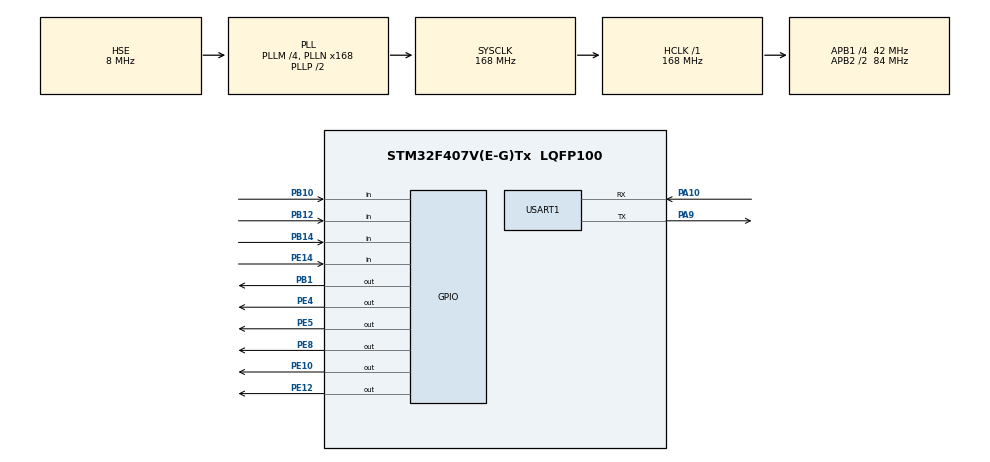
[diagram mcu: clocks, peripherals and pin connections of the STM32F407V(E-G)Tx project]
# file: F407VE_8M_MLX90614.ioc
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Mcu.Family=STM32F4
Mcu.Name=STM32F407V(E-G)Tx
Mcu.Package=LQFP100
NVIC.PriorityGroup=NVIC_PRIORITYGROUP_4
NVIC.USART1_IRQn=true\:0\:0\:false\:false\:true\:true\:true
PA10.Mode=Asynchronous
PA10.Signal=USART1_RX
PA13.Mode=Serial_Wire
PA13.Signal=SYS_JTMS-SWDIO
PA14.Mode=Serial_Wire
PA14.Signal=SYS_JTCK-SWCLK
PA9.Mode=Asynchronous
PA9.Signal=USART1_TX
PB1.GPIO_ModeDefaultOutputPP=GPIO_MODE_OUTPUT_PP
PB1.GPIO_PuPd=GPIO_PULLUP
PB1.GPIO_Speed=GPIO_SPEED_FREQ_VERY_HIGH
PB1.PinState=GPIO_PIN_SET
PB1.Signal=GPIO_Output
PB10.GPIO_Mode=GPIO_MODE_INPUT
PB10.GPIO_PuPd=GPIO_PULLDOWN
PB10.Signal=GPIO_Input
PB12.GPIO_Mode=GPIO_MODE_INPUT
PB12.GPIO_PuPd=GPIO_PULLDOWN
PB12.Signal=GPIO_Input
PB14.GPIO_Mode=GPIO_MODE_INPUT
PB14.GPIO_PuPd=GPIO_PULLDOWN
PB14.Signal=GPIO_Input
PC14-OSC32_IN.Mode=LSE-External-Oscillator
PC14-OSC32_IN.Signal=RCC_OSC32_IN
PC15-OSC32_OUT.Mode=LSE-External-Oscillator
PC15-OSC32_OUT.Signal=RCC_OSC32_OUT
PE10.GPIO_ModeDefaultOutputPP=GPIO_MODE_OUTPUT_PP
PE10.GPIO_PuPd=GPIO_PULLUP
PE10.GPIO_Speed=GPIO_SPEED_FREQ_VERY_HIGH
PE10.PinState=GPIO_PIN_SET
PE10.Signal=GPIO_Output
PE12.GPIO_ModeDefaultOutputPP=GPIO_MODE_OUTPUT_PP
PE12.GPIO_PuPd=GPIO_PULLUP
PE12.GPIO_Speed=GPIO_SPEED_FREQ_VERY_HIGH
PE12.PinState=GPIO_PIN_SET
PE12.Signal=GPIO_Output
PE14.GPIO_Mode=GPIO_MODE_INPUT
PE14.GPIO_PuPd=GPIO_PULLDOWN
PE14.Signal=GPIO_Input
PE4.GPIO_ModeDefaultOutputPP=GPIO_MODE_OUTPUT_PP
PE4.GPIO_PuPd=GPIO_PULLUP
PE4.GPIO_Speed=GPIO_SPEED_FREQ_VERY_HIGH
PE4.PinState=GPIO_PIN_SET
PE4.Signal=GPIO_Output
PE5.GPIO_ModeDefaultOutputPP=GPIO_MODE_OUTPUT_PP
PE5.GPIO_PuPd=GPIO_PULLUP
PE5.GPIO_Speed=GPIO_SPEED_FREQ_VERY_HIGH
PE5.PinState=GPIO_PIN_SET
PE5.Signal=GPIO_Output
PE8.GPIO_ModeDefaultOutputPP=GPIO_MODE_OUTPUT_PP
PE8.GPIO_PuPd=GPIO_PULLUP
PE8.GPIO_Speed=GPIO_SPEED_FREQ_VERY_HIGH
PE8.PinState=GPIO_PIN_SET
PE8.Signal=GPIO_Output
PH0-OSC_IN.Mode=HSE-External-Oscillator
PH0-OSC_IN.Signal=RCC_OSC_IN
PH1-OSC_OUT.Mode=HSE-External-Oscillator
PH1-OSC_OUT.Signal=RCC_OSC_OUT
ProjectManager.HeapSize=0x200
ProjectManager.StackSize=0x400
ProjectManager.TargetToolchain=MDK-ARM V5.27
RCC.48MHZClocksFreq_Value=84000000
RCC.AHBFreq_Value=168000000
RCC.APB1CLKDivider=RCC_HCLK_DIV4
RCC.APB1Freq_Value=42000000
RCC.APB1TimFreq_Value=84000000
RCC.APB2CLKDivider=RCC_HCLK_DIV2
RCC.APB2Freq_Value=84000000
RCC.APB2TimFreq_Value=168000000
RCC.CortexFreq_Value=168000000
RCC.HCLKFreq_Value=168000000
RCC.HSE_VALUE=8000000
RCC.HSI_VALUE=16000000
RCC.PLLM=4
RCC.PLLN=168
RCC.PLLSourceVirtual=RCC_PLLSOURCE_HSE
RCC.SYSCLKFreq_VALUE=168000000
RCC.SYSCLKSource=RCC_SYSCLKSOURCE_PLLCLK
RCC.VCOOutputFreq_Value=336000000
USART1.VirtualMode=VM_ASYNC
board=custom

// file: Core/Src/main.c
/* USER CODE BEGIN Header */
/**
  ******************************************************************************
  * @file           : main.c
  * @brief          : Main program body
  ******************************************************************************
  * @attention
  *
  * <h2><center>&copy; Copyright (c) 2021 STMicroelectronics.
  * All rights reserved.</center></h2>
  *
  * This software component is licensed by ST under BSD 3-Clause license,
  * the "License"; You may not use this file except in compliance with the
  * License. You may obtain a copy of the License at:
  *                        opensource.org/licenses/BSD-3-Clause
  *
  ******************************************************************************
  */
/* USER CODE END Header */
#include "main.h"
#include "usart.h"
#include "gpio.h"

/* USER CODE BEGIN Includes */
#include "Delay/delay.h"
#include "MLX90614/mlx90614.h"
#include "OLED/oled.h"
/* USER CODE END Includes */

void SystemClock_Config(void);

int main(void)
{
  /* USER CODE BEGIN 1 */
  float ambTemp,objTemp;
  /* USER CODE END 1 */

  /* MCU Configuration--------------------------------------------------------*/

  /* Reset of all peripherals, Initializes the Flash interface and the Systick. */
  HAL_Init();

  /* Configure the system clock */
  SystemClock_Config();

  /* Initialize all configured peripherals */
  MX_GPIO_Init();
  MX_USART1_UART_Init();
  /* USER CODE BEGIN 2 */
  Delay_Init(168);
  OLED_Init(GPIOB, 8, GPIOB, 9);
  MLX90614_Init(GPIOB, 6, GPIOB, 7);
  MLX90614_SetI2CAddr(0x5A,0);
  Delay_ms(100);
  OLED_SetTextSize(TEXTSIZE_SMALL);
  /* USER CODE END 2 */

  /* Infinite loop */
  while (1)
  {

    /* USER CODE BEGIN 3 */
    ambTemp=MLX90614_GetTemp(MLX90614_TEMP_AMBIENT);
    Delay_ms(50);
    objTemp=MLX90614_GetTemp(MLX90614_TEMP_OBJECT);
    OLED_CLS();
    OLED_ShowStr(0,0,"Tamb:");
    OLED_ShowFloat(OLED_cursorX,OLED_cursorY,ambTemp);
    OLED_ShowStr(0,1,"Tobj:");
    OLED_ShowFloat(OLED_cursorX,OLED_cursorY,objTemp);
    Delay_ms(500);
  }
  /* USER CODE END 3 */
}

void SystemClock_Config(void)
{
  RCC_OscInitTypeDef RCC_OscInitStruct = {0};
  RCC_ClkInitTypeDef RCC_ClkInitStruct = {0};

  /** Configure the main internal regulator output voltage
  */
  __HAL_RCC_PWR_CLK_ENABLE();
  __HAL_PWR_VOLTAGESCALING_CONFIG(PWR_REGULATOR_VOLTAGE_SCALE1);
  /** Initializes the RCC Oscillators according to the specified parameters
  * in the RCC_OscInitTypeDef structure.
  */
  RCC_OscInitStruct.OscillatorType = RCC_OSCILLATORTYPE_HSE;
  RCC_OscInitStruct.HSEState = RCC_HSE_ON;
  RCC_OscInitStruct.PLL.PLLState = RCC_PLL_ON;
  RCC_OscInitStruct.PLL.PLLSource = RCC_PLLSOURCE_HSE;
  RCC_OscInitStruct.PLL.PLLM = 4;
  RCC_OscInitStruct.PLL.PLLN = 168;
  RCC_OscInitStruct.PLL.PLLP = RCC_PLLP_DIV2;
  RCC_OscInitStruct.PLL.PLLQ = 4;
  if (HAL_RCC_OscConfig(&RCC_OscInitStruct) != HAL_OK)
  {
    Error_Handler();
  }
  /** Initializes the CPU, AHB and APB buses clocks
  */
  RCC_ClkInitStruct.ClockType = RCC_CLOCKTYPE_HCLK|RCC_CLOCKTYPE_SYSCLK
                              |RCC_CLOCKTYPE_PCLK1|RCC_CLOCKTYPE_PCLK2;
  RCC_ClkInitStruct.SYSCLKSource = RCC_SYSCLKSOURCE_PLLCLK;
  RCC_ClkInitStruct.AHBCLKDivider = RCC_SYSCLK_DIV1;
  RCC_ClkInitStruct.APB1CLKDivider = RCC_HCLK_DIV4;
  RCC_ClkInitStruct.APB2CLKDivider = RCC_HCLK_DIV2;

  if (HAL_RCC_ClockConfig(&RCC_ClkInitStruct, FLASH_LATENCY_5) != HAL_OK)
  {
    Error_Handler();
  }
}

void Error_Handler(void)
{
  __disable_irq();
  while (1)
  {
  }
}

/************************ (C) COPYRIGHT STMicroelectronics *****END OF FILE****/
